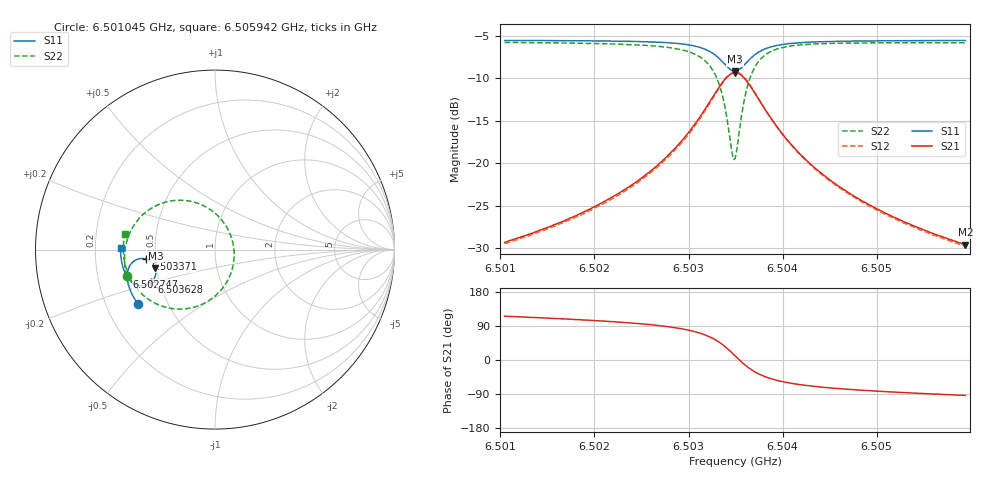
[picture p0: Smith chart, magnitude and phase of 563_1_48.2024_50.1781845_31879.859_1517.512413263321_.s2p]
#  HZ  S  RI  R  50.00
! Rohde & Schwarz Vector Network Analyzer
! Rohde-Schwarz,ZNB20-2Port,1311601062101988,3.16
! Created: UTC 3/20/2024, 12:01:16 PM
! freq[Hz]  re:S11  im:S11  re:S21  im:S21  re:S12  im:S12  re:S22  im:S22
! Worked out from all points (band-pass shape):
!   401 points, 6.501045 GHz to 6.505942 GHz, reference 50 ohm
!   highest |S21| = -9.36 dB at 6.503494 GHz (marker M1); lowest = -29.6 dB at 6.505942 GHz (marker M2)
!   |S21| within 3 dB of the highest: 6.503249 GHz to 6.503738 GHz (488.9 kHz wide, 0.00752 % of centre)
!   lowest |S11| = -9.2 dB at 6.503494 GHz (marker M3), VSWR 2.07, Z = 24.6 - j5.79 ohm
!   |S11| at or under -10 dB: nowhere
!   |S22| runs from -19.5 to -5.8 dB; largest |S21 - S12| = 0.012
!   S11 on the Smith chart (normalised r, x): 6.501045 GHz: 0.34, -0.28; 6.502747 GHz: 0.33, -0.14; 6.503371 GHz: 0.44, -0.05; 6.503628 GHz: 0.45, -0.19; 6.505942 GHz: 0.31, +0.01
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6.5010455e9  -0.4306 -0.3037  -0.0148 0.031  -0.0132 0.0311  -0.4918 -0.147
6.5018657e9  -0.4652 -0.2422  -0.0139 0.0493  -0.0116 0.0488  -0.5037 -0.0585
6.5023186e9  -0.4808 -0.2014  -0.0109 0.0692  -0.00794 0.0679  -0.4997 0.0074
6.5026859e9  -0.489 -0.1599  -0.00143 0.0993  0.0022 0.097  -0.4791 0.083
6.5027471e9  -0.4896 -0.1517  0.00189 0.1066  0.00543 0.1039  -0.4719 0.0991
6.5029674e9  -0.486 -0.1165  0.024 0.1421  0.0276 0.1379  -0.4257 0.1701
6.5031266e9  -0.4712 -0.0842  0.0635 0.1783  0.0663 0.1725  -0.3489 0.2338
6.5032735e9  -0.4332 -0.0545  0.1454 0.2072  0.1462 0.2011  -0.1997 0.2751
6.5033714e9  -0.3865 -0.0516  0.2374 0.1907  0.2377 0.186  -0.0406 0.2322
6.5034571e9  -0.3432 -0.0809  0.3161 0.1156  0.3188 0.1116  0.0852 0.0846
6.5034816e9  -0.3351 -0.0954  0.3295 0.0836  0.3331 0.0787  0.1025 0.0243
6.5034938e9  -0.3322 -0.1033  0.3339 0.0665  0.3377 0.0612  0.1061 -0.00731
6.5035183e9  -0.3293 -0.1196  0.3373 0.0318  0.3416 0.0251  0.1038 -0.0711
6.503555e9  -0.3313 -0.1438  0.33 -0.0188  0.3339 -0.0277  0.0763 -0.1608
6.5036285e9  -0.3539 -0.1812  0.2829 -0.0954  0.2833 -0.1071  -0.0344 -0.2843
6.5037387e9  -0.3999 -0.2014  0.1953 -0.141  0.1903 -0.1509  -0.2116 -0.331
6.5038978e9  -0.4472 -0.1919  0.1112 -0.1371  0.104 -0.1424  -0.3634 -0.2822
6.5040692e9  -0.4751 -0.1705  0.0654 -0.116  0.059 -0.1183  -0.4372 -0.2155
6.504314e9  -0.4964 -0.1405  0.0349 -0.0908  0.0298 -0.0912  -0.4815 -0.1418
6.5046935e9  -0.5123 -0.1003  0.0148 -0.066  0.0116 -0.0656  -0.5046 -0.0642
6.5051343e9  -0.5214 -0.059  0.00522 -0.0494  0.00284 -0.0488  -0.5106 -0.00042
6.5059422e9  -0.5265 0.00979  -0.00203 -0.0332  -0.00343 -0.0325  -0.5032 0.0866
